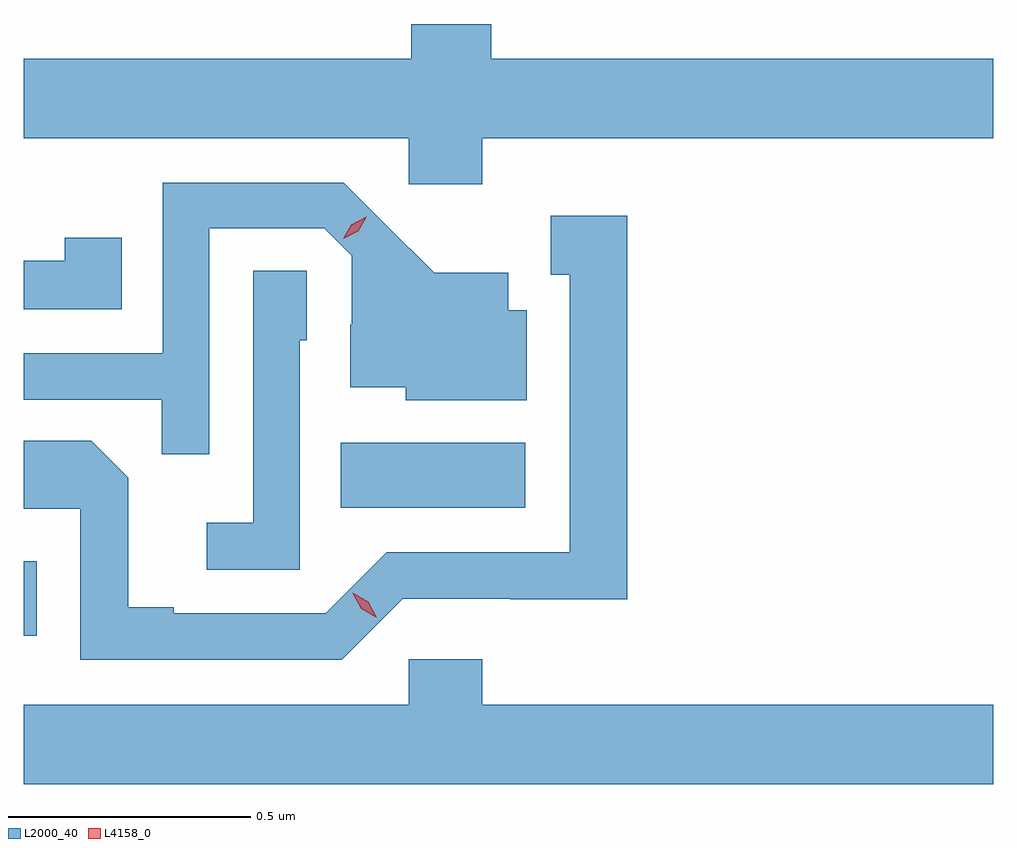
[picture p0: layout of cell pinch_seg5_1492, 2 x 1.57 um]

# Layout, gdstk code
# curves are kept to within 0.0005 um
import gdstk
lib = gdstk.Library(unit=1e-6, precision=1e-09)
def R(c, l, rs):  # rectangles x0, y0, x1, y1
    for r in rs: c.add(gdstk.rectangle(r[:2], r[2:], *l))
def P(c, l, *ps):  # polygons
    for p in ps: c.add(gdstk.Polygon(p, *l))
L2000_40 = (2000, 40)
L4158_0 = (4158, 0)

pinch_seg5_1492 = lib.new_cell('pinch_seg5_1492')
R(pinch_seg5_1492, L2000_40, [(155.806,894.362,155.833,894.516), (156.46,894.626,156.841,894.76)])
P(pinch_seg5_1492, L2000_40, [(156.752,895.388),(157.806,895.388),(157.806,895.552),(156.77,895.552),(156.77,895.624),(156.605,895.624),(156.605,895.552),(155.806,895.552),(155.806,895.388),(156.6,895.388),(156.6,895.293),(156.752,895.293)],
  [(156.189,895.203),(156.426,895.203),(156.483,895.146),(156.483,895.004),(156.479,895.004),(156.479,894.875),(156.594,894.875),(156.594,894.848),(156.844,894.848),(156.844,895.033),(156.805,895.033),(156.805,895.111),(156.653,895.111),(156.466,895.296),(156.093,895.296),(156.093,894.945),(155.806,894.945),(155.806,894.849),(156.091,894.849),(156.091,894.736),(156.189,894.736)],
  [(156.588,894.438),(156.81,894.438),(156.81,894.437),(157.051,894.437),(157.051,895.228),(156.893,895.228),(156.893,895.107),(156.932,895.107),(156.932,894.534),(156.555,894.534),(156.429,894.408),(156.115,894.408),(156.115,894.421),(156.021,894.421),(156.021,894.688),(155.945,894.764),(155.806,894.764),(155.806,894.624),(155.922,894.624),(155.922,894.312),(156.462,894.312)],
  [(156.008,895.183),(155.89,895.183),(155.89,895.136),(155.806,895.136),(155.806,895.035),(156.008,895.035)],
  [(156.375,894.972),(156.39,894.972),(156.39,895.115),(156.279,895.115),(156.279,894.595),(156.183,894.595),(156.183,894.498),(156.375,894.498)],
  [(157.806,894.22),(156.752,894.22),(156.752,894.313),(156.6,894.313),(156.6,894.22),(155.806,894.22),(155.806,894.056),(157.806,894.056)])
P(pinch_seg5_1492, L4158_0, [(156.465,895.181),(156.465,895.181),(156.482,895.21),(156.513,895.226),(156.513,895.226),(156.513,895.225),(156.496,895.196),(156.465,895.181)],
  [(156.534,894.399),(156.502,894.418),(156.485,894.45),(156.485,894.451),(156.485,894.451),(156.517,894.432),(156.534,894.399),(156.534,894.399)])

lib.write_gds('pinch_seg5_1492.gds')
